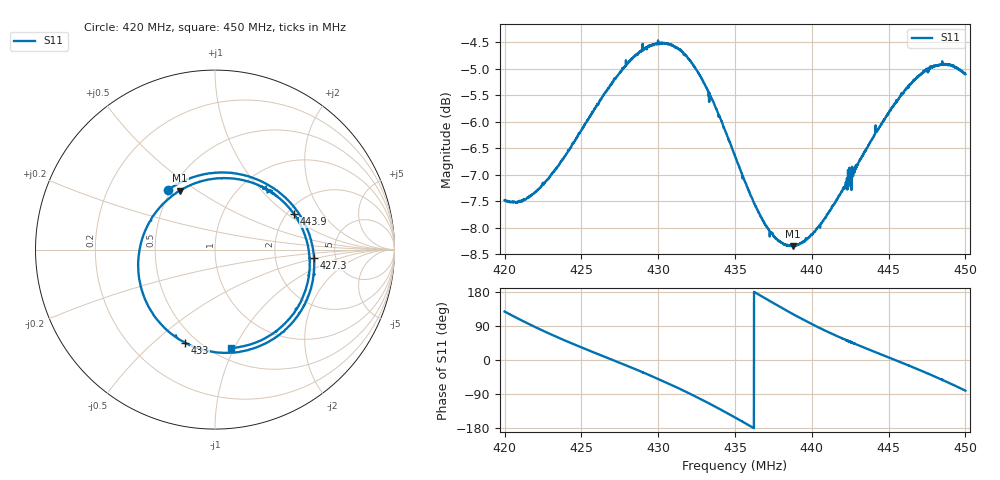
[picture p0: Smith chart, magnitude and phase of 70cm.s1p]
! Calibrated averaged scanner-service zoom
# Hz S RI R 50
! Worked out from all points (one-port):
!   3001 points, 420 MHz to 450 MHz, reference 50 ohm
!   lowest |S11| = -8.4 dB at 438.8 MHz (marker M1), VSWR 2.24, Z = 27.8 + j21.4 ohm
!   |S11| at or under -10 dB: nowhere
!   S11 on the Smith chart (normalised r, x): 420 MHz: 0.48, +0.39; 427.3 MHz: 3.41, -0.44; 433 MHz: 0.43, -0.64; 443.9 MHz: 2.18, +1.12; 450 MHz: 0.61, -0.97
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4.2e8  -0.2594 0.3334
4.2186e8  0.00393 0.4285
4.2375e8  0.2669 0.3763
4.2571e8  0.4756 0.1885
4.2732e8  0.5513 -0.0448
4.275e8  0.553 -0.0734
4.284e8  0.5334 -0.2201
4.2932e8  0.4638 -0.3636
4.3035e8  0.3294 -0.4952
4.3125e8  0.1707 -0.5631
4.3211e8  0.00143 -0.5721
4.3298e8  -0.1661 -0.5195
4.3409e8  -0.3326 -0.3772
4.35e8  -0.4091 -0.2218
4.3582e8  -0.4278 -0.0726
4.3671e8  -0.399 0.0791
4.3778e8  -0.3125 0.2294
4.3875e8  -0.2002 0.326
4.3879e8  -0.1951 0.3288
4.4058e8  0.0478 0.3986
4.425e8  0.2943 0.3299
4.4393e8  0.4408 0.1975
4.4514e8  0.512 0.0421
4.4625e8  0.5247 -0.127
4.4712e8  0.4899 -0.2629
4.479e8  0.4208 -0.3766
4.4903e8  0.2635 -0.5019
4.5e8  0.0885 -0.5487
